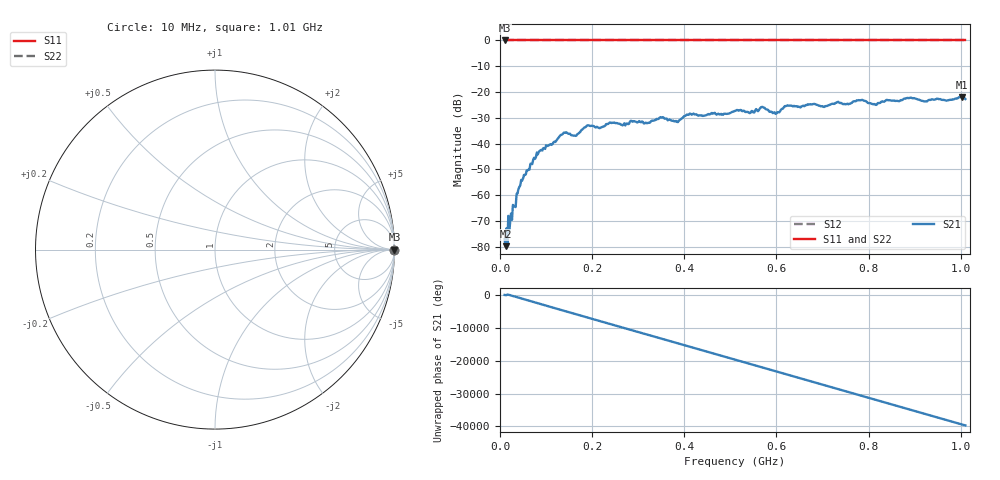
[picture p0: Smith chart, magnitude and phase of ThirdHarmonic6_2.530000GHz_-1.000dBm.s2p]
! 8/17/2025 5:02:32 AM
! C:\ANRITSUVNA\TEMP\TEMP.S2P
! CHANNEL.1
! TR.MEASUREMENT
! RAW.DATA
! RF.CORRECTION.OFF
! AVERAGING.OFF
! IF.BANDWIDTH: 5KHZ
! SWEEPTYPE:  FREQ.SWEEP(Linear)
! Reference Plane Port Info
! PORT:  PORT1  PORT2
! DISTANCE:  0  m  0  m
! TIME:  0  s  0  s
! PHASE.OFFSET:  0  deg.  0  deg.
! LOSS:  0  dB  0  dB
! REF.LOSS:  0  dB  0  dB
! REF.FREQ:  0  Hz  0  Hz
! Power Info
! POWER:  -20  dBm  -20  dBm
! EFF.POWER:  -20  dBm  -20  dBm
! SOURCE.ATTEN:  0  dB  0  dB
! TEST.ATTEN:  0  dB  0  dB
# GHZ S RI R 50.0
! FREQ.GHZ  S11RE  S11IM  S21RE  S21IM  S12RE  S12IM  S22RE  S22IM
!; PortSelection: Port_12
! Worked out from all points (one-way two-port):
!   501 points, 10 MHz to 1.01 GHz, reference 50 ohm
!   highest |S21| = -21.89 dB at 1.002 GHz (marker M1); lowest = -79.8 dB at 12 MHz (marker M2)
!   lowest |S11| = 0.0 dB at 10 MHz (marker M3)
!   |S11| at or under -10 dB: nowhere
!   |S22| runs from 0.0 to 0.0 dB; largest |S21 - S12| = 1.1
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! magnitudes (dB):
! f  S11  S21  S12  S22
! 10 MHz  0.0  -77.1  0.0  0.0
! 12 MHz  0.0  -79.8  0.0  0.0
! 44 MHz  0.0  -56.2  0.0  0.0
! 76 MHz  0.0  -46.0  0.0  0.0
! 136 MHz  0.0  -36.3  0.0  0.0
! 162 MHz  0.0  -36.9  0.0  0.0
! 178 MHz  0.0  -34.6  0.0  0.0
! 344 MHz  0.0  -30.4  0.0  0.0
! 382 MHz  0.0  -31.2  0.0  0.0
! 410 MHz  0.0  -28.8  0.0  0.0
! 510 MHz  0.0  -27.3  0.0  0.0
! 540 MHz  0.0  -28.0  0.0  0.0
! 570 MHz  0.0  -25.8  0.0  0.0
! 596 MHz  0.0  -27.9  0.0  0.0
! 622 MHz  0.0  -25.3  0.0  0.0
! 678 MHz  0.0  -24.7  0.0  0.0
! 706 MHz  0.0  -25.5  0.0  0.0
! 782 MHz  0.0  -23.2  0.0  0.0
! 814 MHz  0.0  -24.8  0.0  0.0
! 844 MHz  0.0  -23.2  0.0  0.0
! 1.002 GHz  0.0  -21.9  0.0  0.0
! 1.01 GHz  0.0  -22.7  0.0  0.0
